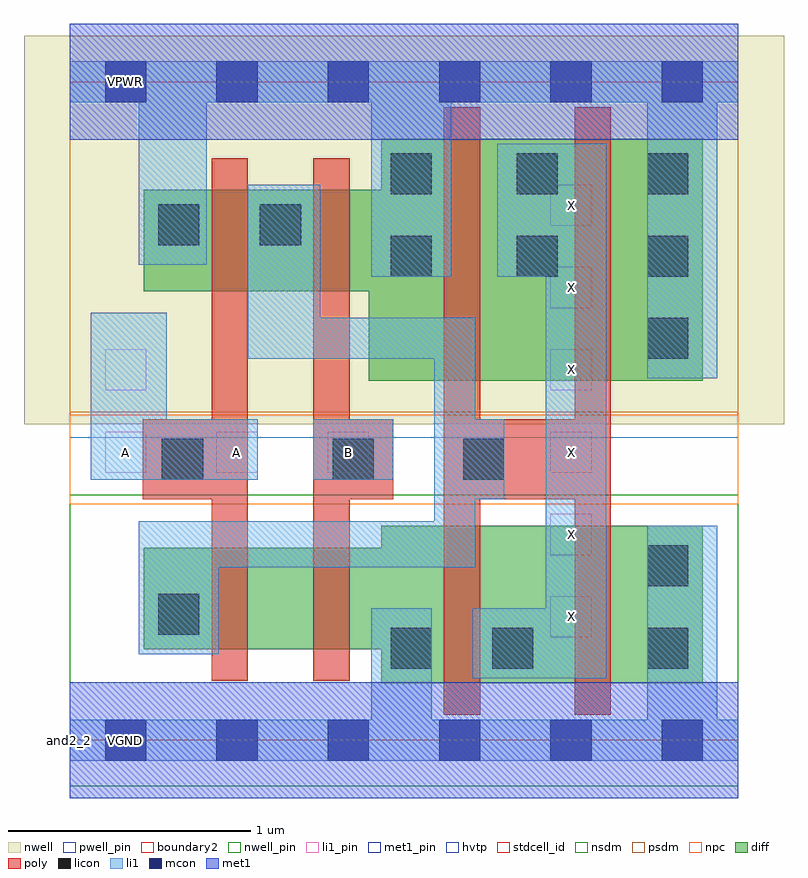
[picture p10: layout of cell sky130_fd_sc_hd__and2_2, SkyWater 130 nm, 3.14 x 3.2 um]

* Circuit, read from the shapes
.subckt sky130_fd_sc_hd__and2_2 A B VGND VNB VPB VPWR X
XM1 n1 A n2 VNB sky130_fd_pr__nfet_01v8 w=0.42 l=0.15
XM2 VGND B n1 VNB sky130_fd_pr__nfet_01v8 w=0.42 l=0.15
XM3 X n2 VGND VNB sky130_fd_pr__nfet_01v8 w=0.65 l=0.15 m=2
XM4 n2 A VPWR VPB sky130_fd_pr__pfet_01v8_hvt w=0.42 l=0.15
XM5 VPWR B n2 VPB sky130_fd_pr__pfet_01v8_hvt w=0.42 l=0.15
XM6 X n2 VPWR VPB sky130_fd_pr__pfet_01v8_hvt w=1 l=0.15 m=2
.ends

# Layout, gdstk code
import gdstk
lib = gdstk.Library(unit=1e-6, precision=1e-09)
def R(c, l, rs):  # rectangles x0, y0, x1, y1
    for r in rs: c.add(gdstk.rectangle(r[:2], r[2:], *l))
def A(c, l, x, y, w, h, nx, ny, dx, dy):  # array of equal rectangles
    R(c, l, [(x+i*dx, y+j*dy, x+i*dx+w, y+j*dy+h) for i in range(nx) for j in range(ny)])
def P(c, l, *ps):  # polygons
    for p in ps: c.add(gdstk.Polygon(p, *l))
nwell_pin = (64, 16)
nwell = (64, 20)
diff = (65, 20)
poly = (66, 20)
licon = (66, 44)
li1_pin = (67, 16)
li1 = (67, 20)
mcon = (67, 44)
met1_pin = (68, 16)
met1 = (68, 20)
hvtp = (78, 44)
stdcell_id = (81, 4)
nsdm = (93, 44)
psdm = (94, 20)
npc = (95, 20)
pwell_pin = (122, 16)
boundary2 = (236, 0)

sky130_fd_sc_hd__and2_2 = lib.new_cell('sky130_fd_sc_hd__and2_2')
R(sky130_fd_sc_hd__and2_2, nwell_pin, [(0.145,2.635,0.315,2.805)])
R(sky130_fd_sc_hd__and2_2, nwell, [(-0.19,1.305,2.95,2.91)])
P(sky130_fd_sc_hd__and2_2, diff, [(2.615,2.485),(1.285,2.485),(1.285,2.275),(0.305,2.275),(0.305,1.855),(1.235,1.855),(1.235,1.485),(2.615,1.485)],
  [(2.615,0.885),(1.285,0.885),(1.285,0.795),(0.305,0.795),(0.305,0.375),(1.285,0.375),(1.285,0.235),(2.615,0.235)])
P(sky130_fd_sc_hd__and2_2, poly, [(0.735,2.405),(0.585,2.405),(0.585,1.325),(0.3,1.325),(0.3,0.995),(0.585,0.995),(0.585,0.245),(0.735,0.245)],
  [(1.335,1.325),(1.155,1.325),(1.155,2.405),(1.005,2.405),(1.005,0.245),(1.155,0.245),(1.155,0.995),(1.335,0.995)],
  [(2.235,2.615),(2.085,2.615),(2.085,1.325),(1.695,1.325),(1.695,2.615),(1.545,2.615),(1.545,0.105),(1.695,0.105),(1.695,0.995),(2.085,0.995),(2.085,0.105),(2.235,0.105)])
A(sky130_fd_sc_hd__and2_2, licon, 2.385, 1.575, 0.17, 0.17, 1, 3, 0, 0.34)
R(sky130_fd_sc_hd__and2_2, licon, [(1.325,0.295,1.495,0.465), (1.745,0.295,1.915,0.465), (2.385,0.295,2.555,0.465), (0.365,0.435,0.535,0.605), (2.385,0.635,2.555,0.805), (0.38,1.075,0.55,1.245), (1.085,1.075,1.255,1.245), (1.625,1.075,1.795,1.245), (1.325,1.915,1.495,2.085), (1.845,1.915,2.015,2.085), (0.365,2.045,0.535,2.215), (0.785,2.045,0.955,2.215), (1.325,2.255,1.495,2.425), (1.845,2.255,2.015,2.425)])
A(sky130_fd_sc_hd__and2_2, li1_pin, 1.985, 0.425, 0.17, 0.17, 1, 6, 0, 0.34)
A(sky130_fd_sc_hd__and2_2, li1_pin, 0.145, 1.105, 0.17, 0.17, 3, 1, 0.46, 0)
R(sky130_fd_sc_hd__and2_2, li1_pin, [(0.145,1.445,0.315,1.615)])
R(sky130_fd_sc_hd__and2_2, li1, [(1.005,1.075,1.335,1.325)])
P(sky130_fd_sc_hd__and2_2, li1, [(0.085,1.075),(0.085,1.765),(0.4,1.765),(0.4,1.325),(0.775,1.325),(0.775,1.075)],
  [(1.795,1.325),(1.675,1.325),(1.675,1.745),(1.035,1.745),(1.035,2.295),(0.735,2.295),(0.735,1.575),(1.505,1.575),(1.505,0.905),(0.285,0.905),(0.285,0.355),(0.615,0.355),(0.615,0.715),(1.675,0.715),(1.675,0.995),(1.795,0.995)],
  [(2.76,0.085),(2.675,0.085),(2.675,0.885),(2.385,0.885),(2.385,0.085),(1.495,0.085),(1.495,0.545),(1.245,0.545),(1.245,0.085),(0,0.085),(0,-0.085),(2.76,-0.085)],
  [(2.215,2.465),(1.765,2.465),(1.765,1.915),(1.965,1.915),(1.965,0.545),(1.665,0.545),(1.665,0.255),(2.215,0.255)],
  [(2.76,2.805),(0,2.805),(0,2.635),(0.285,2.635),(0.285,1.965),(0.565,1.965),(0.565,2.635),(1.245,2.635),(1.245,1.915),(1.575,1.915),(1.575,2.635),(2.385,2.635),(2.385,1.495),(2.675,1.495),(2.675,2.635),(2.76,2.635)])
A(sky130_fd_sc_hd__and2_2, mcon, 0.145, -0.085, 0.17, 0.17, 6, 2, 0.46, 2.72)
R(sky130_fd_sc_hd__and2_2, met1_pin, [(0.145,-0.085,0.315,0.085), (0.145,2.635,0.315,2.805)])
R(sky130_fd_sc_hd__and2_2, hvtp, [(0,1.25,2.76,2.72)])
R(sky130_fd_sc_hd__and2_2, stdcell_id, [(0,0,2.76,2.72)])
R(sky130_fd_sc_hd__and2_2, nsdm, [(0,-0.19,2.76,1.015)])
R(sky130_fd_sc_hd__and2_2, psdm, [(0,1.355,2.76,2.91)])
R(sky130_fd_sc_hd__and2_2, npc, [(0,0.975,2.76,1.345)])
R(sky130_fd_sc_hd__and2_2, pwell_pin, [(0.145,-0.085,0.315,0.085)])
R(sky130_fd_sc_hd__and2_2, boundary2, [(0,0,2.76,2.72)])
sky130_fd_sc_hd__and2_2.add(gdstk.FlexPath([(0,0),(2.76,0)], 0.48, ends="flush", simple_path=True, layer=68, datatype=20))  # met1
sky130_fd_sc_hd__and2_2.add(gdstk.FlexPath([(0,2.72),(2.76,2.72)], 0.48, ends="flush", simple_path=True, layer=68, datatype=20))  # met1
sky130_fd_sc_hd__and2_2.add(gdstk.Label('VPWR', (0.23,2.72), layer=68, texttype=5))
sky130_fd_sc_hd__and2_2.add(gdstk.Label('VGND', (0.23,0), layer=68, texttype=5))
sky130_fd_sc_hd__and2_2.add(gdstk.Label('A', (0.69,1.19), layer=67, texttype=5))
sky130_fd_sc_hd__and2_2.add(gdstk.Label('X', (2.07,0.85), layer=67, texttype=5))
sky130_fd_sc_hd__and2_2.add(gdstk.Label('A', (0.23,1.19), layer=67, texttype=5))
sky130_fd_sc_hd__and2_2.add(gdstk.Label('X', (2.07,0.51), layer=67, texttype=5))
sky130_fd_sc_hd__and2_2.add(gdstk.Label('X', (2.07,1.19), layer=67, texttype=5))
sky130_fd_sc_hd__and2_2.add(gdstk.Label('X', (2.07,1.53), layer=67, texttype=5))
sky130_fd_sc_hd__and2_2.add(gdstk.Label('X', (2.07,1.87), layer=67, texttype=5))
sky130_fd_sc_hd__and2_2.add(gdstk.Label('X', (2.07,2.21), layer=67, texttype=5))
sky130_fd_sc_hd__and2_2.add(gdstk.Label('B', (1.15,1.19), layer=67, texttype=5))
sky130_fd_sc_hd__and2_2.add(gdstk.Label('VPB', (0.23,2.72), layer=64, texttype=5))
sky130_fd_sc_hd__and2_2.add(gdstk.Label('VNB', (0.23,0), layer=64, texttype=59))
sky130_fd_sc_hd__and2_2.add(gdstk.Label('and2_2', (0,0), layer=83, texttype=44))

lib.write_gds('sky130_fd_sc_hd__and2_2.gds')
